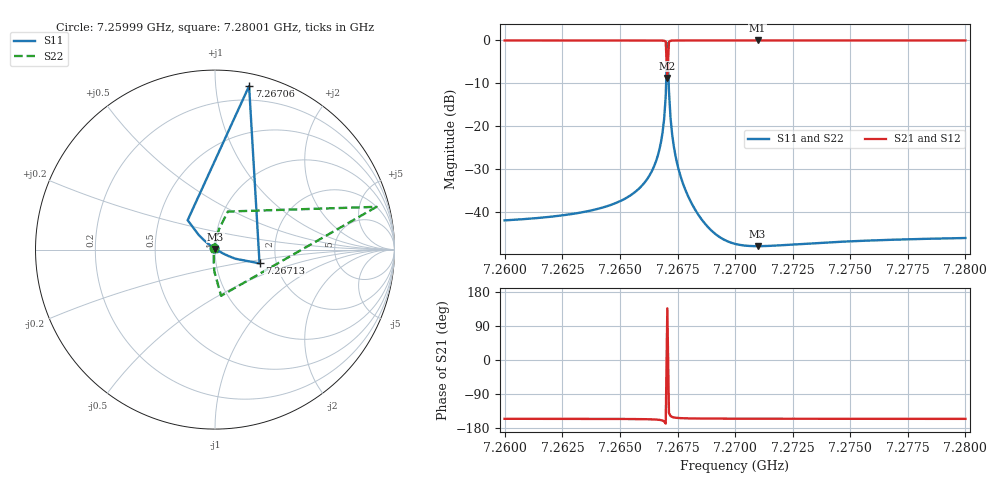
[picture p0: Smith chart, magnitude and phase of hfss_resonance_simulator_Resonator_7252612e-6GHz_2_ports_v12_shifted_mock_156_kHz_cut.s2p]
! Touchstone file exported from HFSS 2024.1.0
!  File:  C:/Users/alex_0000/Desktop/hfss_resonance_simulator (1).aedt
!  Generated:  06:27:55 PM Jun  4, 2025
!  Design:  hfssO1XZ3E2
!  Project:  hfss_resonance_simulator (1)
!  Setup:  Setup1
!  Solution:  Sweep
! Created with skrf (http://scikit-rf.org).
# GHz S RI R 50.0
! Port[1] = 1
! Port[2] = 2
!freq ReS11 ImS11 ReS21 ImS21 ReS12 ImS12 ReS22 ImS22
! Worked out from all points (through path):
!   287 points, 7.25999 GHz to 7.28001 GHz, reference 50 ohm
!   highest |S21| = 0.00 dB at 7.27098 GHz (marker M1); lowest = -8.7 dB at 7.26706 GHz (marker M2)
!   lowest |S11| = -47.9 dB at 7.27098 GHz (marker M3), VSWR 1.01, Z = 50.2 + j0.34 ohm
!   |S11| at or under -10 dB: start of sweep to 7.267003 GHz; 7.267115 GHz to end of sweep
!   |S22| runs from -47.9 to -0.6 dB; largest |S21 - S12| = 2.3e-13
!   S11 on the Smith chart (normalised r, x): 7.25999 GHz: 0.99, +0.01; 7.26706 GHz: 0.09, +1.23; 7.26713 GHz: 1.63, -0.27; 7.28001 GHz: 1.00, +0.01
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7.259986  -0.00356 0.00722  -0.9073 -0.4204  -0.9073 -0.4204  -0.00321 0.00738
7.263346  -0.00536 0.00843  -0.9087 -0.4172  -0.9087 -0.4172  -0.0029 0.00956
7.264676  -0.00749 0.00988  -0.91 -0.4144  -0.91 -0.4144  -0.00254 0.0121
7.265656  -0.0116 0.0127  -0.9122 -0.4095  -0.9122 -0.4095  -0.0018 0.0171
7.266286  -0.0197 0.0185  -0.9161 -0.4001  -0.9161 -0.4001  -0.000201 0.027
7.266706  -0.0403 0.0344  -0.9253 -0.3754  -0.9253 -0.3754  0.00492 0.0527
7.266846  -0.0637 0.0547  -0.9346 -0.3457  -0.9346 -0.3457  0.0128 0.083
7.266916  -0.0902 0.0811  -0.9433 -0.3091  -0.9433 -0.3091  0.0247 0.1188
7.266986  -0.1524 0.1637  -0.9527 -0.2057  -0.9527 -0.2057  0.0713 0.212
7.267056  0.19 0.9113  -0.265 0.2513  -0.265 0.2513  0.8999 0.2382
7.267126  0.2481 -0.0768  -0.7381 -0.6227  -0.7381 -0.6227  0.0339 -0.2575
7.267196  0.1135 -0.0508  -0.8392 -0.5293  -0.8392 -0.5293  -0.00304 -0.1243
7.267336  0.053 -0.0256  -0.8776 -0.4758  -0.8776 -0.4758  -0.00744 -0.0584
7.267546  0.0288 -0.0128  -0.8915 -0.452  -0.8915 -0.452  -0.00671 -0.0308
7.267896  0.0159 -0.00525  -0.8985 -0.4386  -0.8985 -0.4386  -0.00566 -0.0158
7.268316  0.01 -0.00163  -0.9017 -0.4322  -0.9017 -0.4322  -0.00503 -0.00885
7.268876  0.00647 0.000635  -0.9036 -0.4282  -0.9036 -0.4282  -0.00459 -0.0046
7.269996  0.00342 0.00259  -0.9054 -0.4246  -0.9054 -0.4246  -0.00418 -0.000978
7.270976  0.0022 0.00338  -0.9062 -0.4229  -0.9062 -0.4229  -0.004 0.000488
7.273356  0.00082 0.00428  -0.9072 -0.4206  -0.9072 -0.4206  -0.0038 0.00214
7.276716  4.43e-05 0.00478  -0.9082 -0.4186  -0.9082 -0.4186  -0.00366 0.00307
7.280006  -0.000315 0.00501  -0.9089 -0.417  -0.9089 -0.417  -0.00359 0.00351
